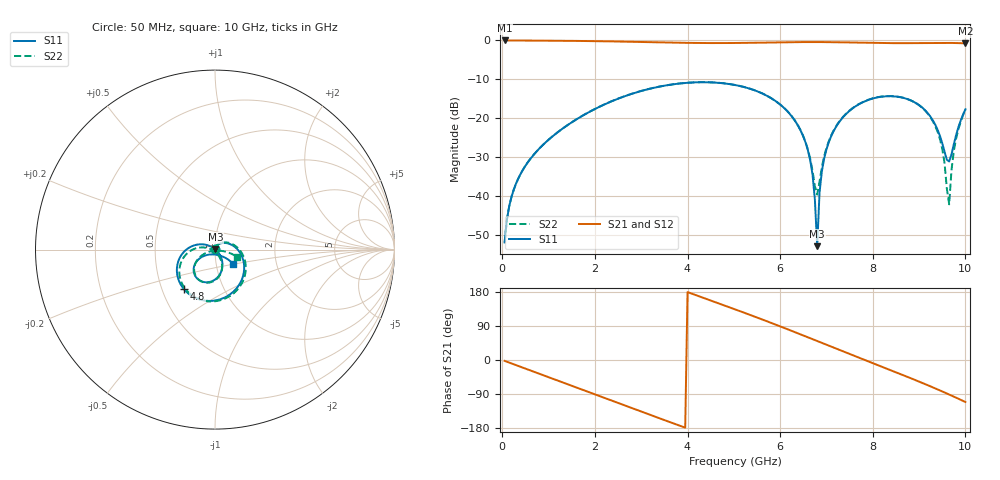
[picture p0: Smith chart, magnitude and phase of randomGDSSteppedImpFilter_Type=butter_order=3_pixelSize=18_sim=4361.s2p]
! freq	dB(S11)	phase(S11)	dB(S12)	phase(S12)
!  dB(S21)	phase(S21)	dB(S22)	phase(S22)
!S-par simulation data
#  GHz  S  DB  R 50
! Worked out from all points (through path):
!   200 points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, 50 MHz to 10 GHz, reference 50 ohm
!   highest |S21| = 0.00 dB at 50 MHz (marker M1); lowest = -0.7 dB at 10 GHz (marker M2)
!   group delay of S21, straight-line fit = 129 ps
!   lowest |S11| = -52.9 dB at 6.8 GHz (marker M3), VSWR 1.00, Z = 50.2 + j0.11 ohm
!   |S11| at or under -10 dB: start of sweep to end of sweep
!   |S22| runs from -51.9 to -10.7 dB; largest |S21 - S12| = 0
!   S11 on the Smith chart (normalised r, x): 50 MHz: 1.00, +0.01; 4.8 GHz: 0.65, -0.31; 10 GHz: 1.21, -0.20
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0.05  -51.92 85.0  -0.00 -2.3  -0.00 -2.3  -51.91 85.1
0.2  -40.14 78.2  -0.02 -9.1  -0.02 -9.1  -40.14 78.8
0.45  -33.15 67.5  -0.03 -20.5  -0.03 -20.5  -33.14 69.1
1.75  -19.22 8.9  -0.14 -79.5  -0.14 -79.5  -19.20 13.1
2.5  -14.97 -25.5  -0.27 -113.6  -0.27 -113.6  -14.95 -20.7
3.4  -11.85 -66.2  -0.49 -154.1  -0.49 -154.1  -11.84 -61.0
4.8  -11.05 -127.9  -0.67 143.8  -0.67 143.8  -11.03 -121.9
5.05  -11.51 -139.0  -0.65 132.6  -0.65 132.6  -11.49 -132.7
6.2  -18.77 167.6  -0.45 79.2  -0.45 79.2  -18.75 178.0
6.5  -24.70 152.4  -0.42 64.8  -0.42 64.8  -24.61 168.8
6.7  -34.52 139.1  -0.41 55.0  -0.41 55.0  -33.54 178.7
6.8  -52.87 28.8  -0.41 50.1  -0.41 50.1  -39.61 -117.8
6.85  -39.18 -33.6  -0.42 47.7  -0.42 47.7  -36.33 -80.2
6.9  -33.70 -40.4  -0.42 45.2  -0.42 45.2  -32.61 -66.2
7.15  -23.41 -55.8  -0.45 32.9  -0.45 32.9  -23.23 -60.8
7.65  -16.76 -80.6  -0.55 8.6  -0.55 8.6  -16.69 -79.9
8.35  -14.32 -113.4  -0.69 -25.2  -0.69 -25.2  -14.28 -111.2
9.3  -20.59 -150.5  -0.64 -72.4  -0.64 -72.4  -20.83 -154.4
9.5  -26.40 -143.2  -0.63 -82.9  -0.63 -82.9  -27.85 -159.9
9.65  -31.11 -86.0  -0.64 -91.1  -0.64 -91.1  -42.11 -50.4
9.75  -26.68 -48.0  -0.65 -96.6  -0.65 -96.6  -28.41 -10.9
10  -17.70 -38.0  -0.75 -110.8  -0.75 -110.8  -17.80 -18.3
